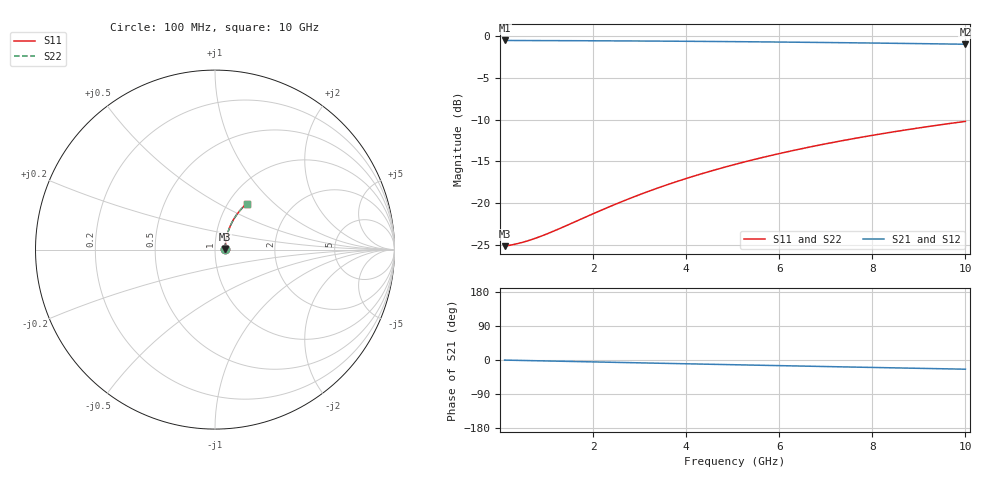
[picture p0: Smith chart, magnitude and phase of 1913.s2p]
# Hz S RI R 50.00
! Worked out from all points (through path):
!   100 points, 100 MHz to 10 GHz, reference 50 ohm
!   highest |S21| = -0.49 dB at 100 MHz (marker M1); lowest = -0.9 dB at 10 GHz (marker M2)
!   group delay of S21, straight-line fit = 6.76 ps
!   lowest |S11| = -25.2 dB at 100 MHz (marker M3), VSWR 1.12, Z = 55.8 + j0.337 ohm
!   |S11| at or under -10 dB: start of sweep to end of sweep
!   |S22| runs from -25.2 to -10.2 dB; largest |S21 - S12| = 0
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1e8  0.0552 0.00301  0.9448 -0.00414  0.9448 -0.00414  0.0552 0.00301
4e8  0.0562 0.012  0.9438 -0.0165  0.9438 -0.0165  0.0562 0.012
6e8  0.0567 0.018  0.9432 -0.0248  0.9432 -0.0248  0.0567 0.018
8e8  0.0574 0.0239  0.9426 -0.033  0.9426 -0.033  0.0574 0.0239
1e9  0.058 0.0299  0.9419 -0.0412  0.9419 -0.0412  0.058 0.0299
1.2e9  0.0588 0.0358  0.9411 -0.0494  0.9411 -0.0494  0.0588 0.0358
1.8e9  0.0616 0.0535  0.9382 -0.0739  0.9382 -0.0739  0.0616 0.0535
2.2e9  0.0639 0.0652  0.9357 -0.0902  0.9357 -0.0902  0.0639 0.0652
2.6e9  0.0666 0.0768  0.9329 -0.1063  0.9329 -0.1063  0.0666 0.0768
3e9  0.0697 0.0883  0.9297 -0.1223  0.9297 -0.1223  0.0697 0.0883
3.4e9  0.0731 0.0996  0.9261 -0.1382  0.9261 -0.1382  0.0731 0.0996
3.8e9  0.0769 0.1107  0.9221 -0.1539  0.9221 -0.1539  0.0769 0.1107
4.2e9  0.0811 0.1217  0.9177 -0.1694  0.9177 -0.1694  0.0811 0.1217
4.6e9  0.0856 0.1325  0.913 -0.1848  0.913 -0.1848  0.0856 0.1325
5.1e9  0.0917 0.1458  0.9065 -0.2037  0.9065 -0.2037  0.0917 0.1458
5.5e9  0.097 0.1561  0.9009 -0.2186  0.9009 -0.2186  0.097 0.1561
5.9e9  0.1026 0.1662  0.895 -0.2333  0.895 -0.2333  0.1026 0.1662
6.7e9  0.1148 0.1857  0.8822 -0.2619  0.8822 -0.2619  0.1148 0.1857
7.5e9  0.128 0.2042  0.8682 -0.2896  0.8682 -0.2896  0.128 0.2042
8.4e9  0.1442 0.2236  0.851 -0.3193  0.851 -0.3193  0.1442 0.2236
9.2e9  0.1596 0.2396  0.8347 -0.3445  0.8347 -0.3445  0.1596 0.2396
1e10  0.1757 0.2544  0.8175 -0.3686  0.8175 -0.3686  0.1757 0.2544
